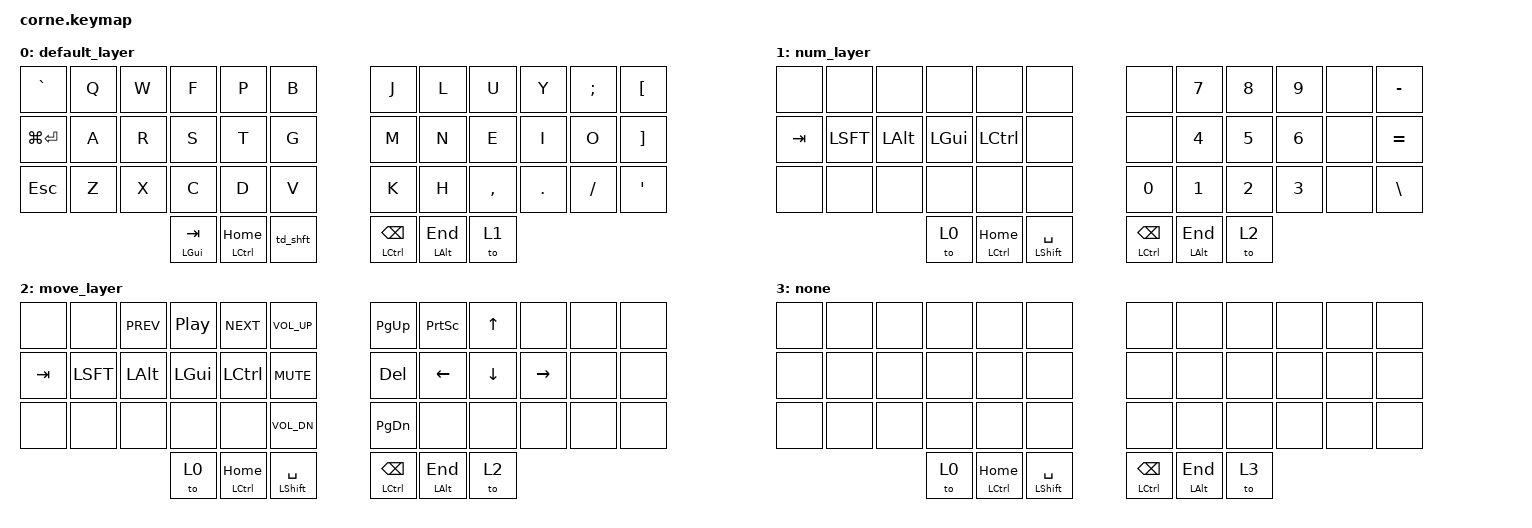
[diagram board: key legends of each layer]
/*
 * Copyright (c) 2020 The ZMK Contributors
 *
 * SPDX-License-Identifier: MIT
 */

#include <behaviors.dtsi>
#include <dt-bindings/zmk/keys.h>
#include <dt-bindings/zmk/bt.h>

/ {
		behaviors {
        td_shft: super_shift {
            compatible = "zmk,behavior-tap-dance";
            #binding-cells = <0>;
            tapping-term-ms = <200>;
            bindings = <&mt LSHIFT SPACE>, <&kp ENTER>;
        };
    };
        keymap {
                compatible = "zmk,keymap";

                default_layer {
                        bindings = <
   &kp GRAVE   	 &kp Q &kp W &kp F &kp P &kp B   &kp J &kp L  &kp U     &kp Y   &kp SEMI &kp LBKT
   &kp LG(ENTER) &kp A &kp R &kp S &kp T &kp G   &kp M &kp N  &kp E     &kp I   &kp O    &kp RBKT
   &kp ESC 			 &kp Z &kp X &kp C &kp D &kp V   &kp K &kp H  &kp COMMA &kp DOT &kp FSLH &kp APOS
   &mt LGUI TAB  &mt LCTL HOME &td_shft  &mt LCTL BSPC &mt LALT END &to 1
                        >;
                };
                num_layer {
                        bindings = <
   &none   &none    &none    &none    &none    &none   &none  &kp N7 &kp N8 &kp N9 &none &kp MINUS
   &kp TAB &kp LSFT &kp LALT &kp LGUI &kp LCTL &none   &none  &kp N4 &kp N5 &kp N6 &none &kp EQUAL
   &none   &none    &none    &none    &none    &none   &kp N0 &kp N1 &kp N2 &kp N3 &none &kp BSLH
              &to 0   &mt LCTL HOME &mt LSHIFT SPACE   &mt LCTL BSPC &mt LALT END &to 2
                        >;
                };
								move_layer {
                        bindings = <
   &none   &none    &kp C_PREV &kp C_PP &kp C_NEXT &kp C_VOL_UP     &kp PG_UP &kp PSCRN &kp UP   &none     &none &none
   &kp TAB &kp LSFT &kp LALT   &kp LGUI &kp LCTL   &kp C_MUTE       &kp DEL   &kp LEFT  &kp DOWN &kp RIGHT &none &none
   &none   &none    &none      &none    &none      &kp C_VOL_DN	    &kp PG_DN &none     &none    &none     &none &none
                           &to 0 &mt LCTL HOME &mt LSHIFT SPACE     &mt LCTL BSPC &mt LALT END &to 2
                        >;
                };
                none {
                        bindings = <
   &none &none &none &none &none &none          &none &none &none &none &none &none
   &none &none &none &none &none &none          &none &none &none &none &none &none
   &none &none &none &none &none &none          &none &none &none &none &none &none
  &to 0 &mt LCTL HOME &mt LSHIFT SPACE   &mt LCTL BSPC &mt LALT END &to 3
                        >;
                };
        };
};
